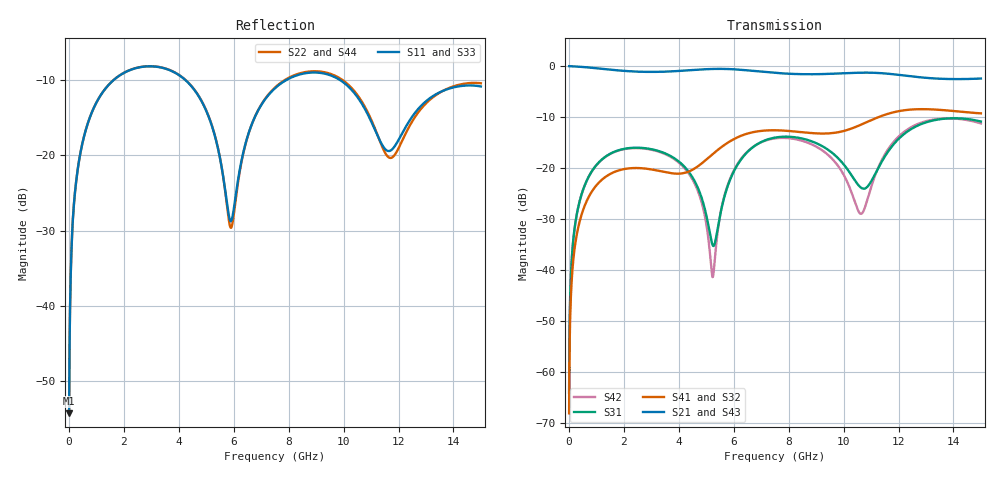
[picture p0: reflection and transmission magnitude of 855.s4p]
! Created with skrf 1.8.0 (http://scikit-rf.org).
# GHz S RI R 50.0
!freq ReS11 ImS11 ReS12 ImS12 ReS13 ImS13
! ReS14 ImS14
! ReS21 ImS21 ReS22 ImS22 ReS23 ImS23
! ReS24 ImS24
! ReS31 ImS31 ReS32 ImS32 ReS33 ImS33
! ReS34 ImS34
! ReS41 ImS41 ReS42 ImS42 ReS43 ImS43
! ReS44 ImS44
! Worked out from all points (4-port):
!   2499 points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, 5 MHz to 15 GHz, reference 50 ohm
!   strongest paths, dB at 5 MHz, 3.476 GHz, 7.19 GHz, 11.1 GHz, 15 GHz:
!     S21: 0.0, -1.1, -1.2, -1.3, -2.4
!     S43: 0.0, -1.1, -1.2, -1.3, -2.4
!     S41: -68.1, -20.8, -12.6, -10.4, -9.3
!     S32: -68.1, -20.8, -12.6, -10.4, -9.3
!     S31: -64.0, -17.1, -14.5, -21.7, -10.9
!     S42: -64.0, -17.2, -14.5, -22.2, -11.2
!   lowest |S11| = -54.4 dB at 5 MHz (marker M1), VSWR 1.00, Z = 50.2 + j0.116 ohm
!   |S11| at or under -10 dB: start of sweep to 1.611 GHz; 4.253 GHz to 7.891 GHz (3.638 GHz wide, 59.9 % of centre); 9.891 GHz to end of sweep
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0.005  0.00153 0.00116  0.9984 -0.00297  7.69e-05 0.000623  -7.46e-05 -0.000388
       0.9984 -0.00297  0.00153 0.00116  -7.46e-05 -0.000388  7.69e-05 0.000623
       7.69e-05 0.000623  -7.46e-05 -0.000388  0.00153 0.00116  0.9984 -0.00297
       -7.46e-05 -0.000388  7.69e-05 0.000623  0.9984 -0.00297  0.00153 0.00116
0.3126303  0.0213 0.0766  0.971 -0.1853  0.00999 0.0372  -0.00823 -0.023
           0.971 -0.1853  0.0213 0.0766  -0.00823 -0.023  0.00982 0.0373
           0.00999 0.0372  -0.00823 -0.023  0.0213 0.0766  0.971 -0.1853
           -0.00823 -0.023  0.00982 0.0373  0.971 -0.1853  0.0213 0.0766
1.469362  0.2314 0.1887  0.6277 -0.6788  0.1167 0.0714  -0.0846 -0.0189
          0.6277 -0.6788  0.2321 0.1883  -0.0846 -0.019  0.1145 0.0738
          0.1167 0.0714  -0.0846 -0.019  0.2313 0.1887  0.6278 -0.6787
          -0.0846 -0.0189  0.1145 0.0738  0.6278 -0.6787  0.232 0.1883
5.227178  0.081 -0.1296  -0.8485 -0.3987  -0.0158 -0.00788  -0.0539 0.1256
          -0.8485 -0.3987  0.0779 -0.1325  -0.0545 0.1253  -0.00799 -0.00308
          -0.0158 -0.00788  -0.0545 0.1253  0.0803 -0.1285  -0.8488 -0.3987
          -0.0539 0.1256  -0.00799 -0.00308  -0.8488 -0.3987  0.0775 -0.1313
5.696123  0.0383 -0.0427  -0.924 -0.1597  -0.0123 0.0553  -0.0268 0.1692
          -0.924 -0.1597  0.0347 -0.0445  -0.0276 0.1691  -0.00653 0.0577
          -0.0123 0.0553  -0.0276 0.1691  0.0379 -0.0415  -0.9241 -0.1597
          -0.0268 0.1692  -0.00653 0.0577  -0.9241 -0.1597  0.0345 -0.0433
9.210088  0.3508 -0.045  0.0373 0.8344  0.1306 -0.1007  0.2066 -0.0702
          0.0373 0.8344  0.3571 -0.0531  0.2066 -0.0682  0.1311 -0.0732
          0.1306 -0.1007  0.2066 -0.0682  0.3491 -0.0451  0.0359 0.8353
          0.2066 -0.0702  0.1311 -0.0732  0.0359 0.8353  0.355 -0.0514
15  0.2785 -0.0744  0.122 -0.7455  0.2713 -0.0915  -0.3405 0.0507
    0.122 -0.7455  0.2933 -0.0751  -0.3408 0.0464  0.2678 -0.0577
    0.2713 -0.0915  -0.3408 0.0464  0.2768 -0.0699  0.1276 -0.7459
    -0.3405 0.0507  0.2678 -0.0577  0.1276 -0.7459  0.2891 -0.0755
